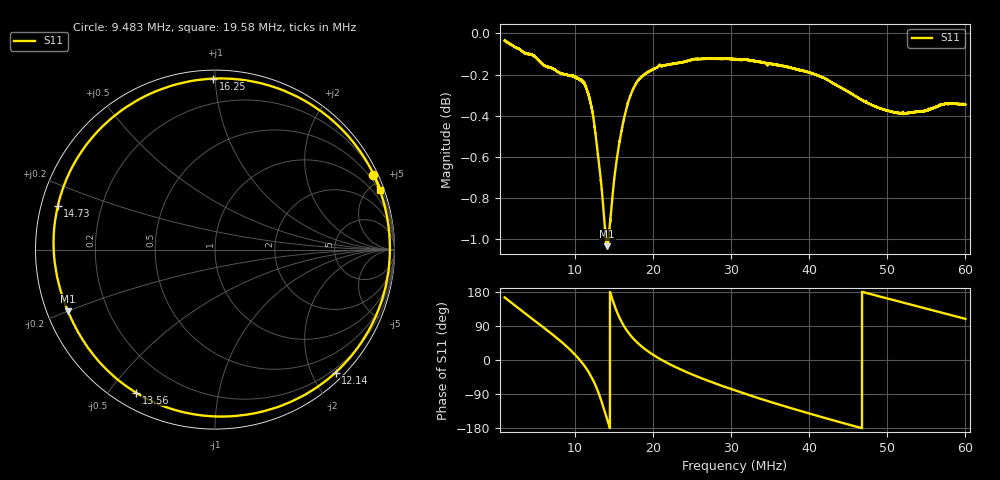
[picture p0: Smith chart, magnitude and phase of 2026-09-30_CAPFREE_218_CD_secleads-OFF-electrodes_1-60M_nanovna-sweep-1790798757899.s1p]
! NanoVNA Web complex sweep
! Processing: unaveraged complex samples; linear segment spacing; no smoothing
# Hz S RI R 50
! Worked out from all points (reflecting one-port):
!   10100 points, 1 MHz to 60 MHz, reference 50 ohm
!   lowest |S11| = -1.0 dB at 14.14 MHz (marker M1), VSWR 16.79, Z = 3.1 - j10.1 ohm
!   phase of S11 starts at 165 deg and turns -777 deg over the sweep
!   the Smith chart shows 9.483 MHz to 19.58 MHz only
!   S11 on the Smith chart (normalised r, x): 9.483 MHz: 0.25, +4.45; 12.14 MHz: 0.14, -2.38; 13.56 MHz: 0.06, -0.59; 14.73 MHz: 0.05, +0.14; 16.25 MHz: 0.05, +0.99; 19.58 MHz: 0.36, +5.74
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1000000  -0.9631 0.2538
2717548  -0.7309 0.6703
4873246  -0.2248 0.9611
6672582  0.2572 0.9468
8378446  0.6788 0.7034
9482584  0.8831 0.4169
1.101319e7  0.9598 -0.1613
1.160907e7  0.8632 -0.4379
1.214069e7  0.6718 -0.6848
1.294105e7  0.1297 -0.9253
1.35603e7  -0.4406 -0.7968
1.413866e7  -0.8181 -0.3442
1.47287e7  -0.876 0.2443
1.524864e7  -0.6451 0.6679
1.575105e7  -0.3204 0.8857
1.624762e7  -0.0116 0.9527
1.772565e7  0.6084 0.7574
1.957756e7  0.9219 0.3299
2.113153e7  0.9819 -0.00117
2.31295e7  0.9179 -0.3533
2.671648e7  0.6041 -0.7791
3.05021e7  0.1655 -0.9716
3.397809e7  -0.2343 -0.9556
3.78747e7  -0.6076 -0.7698
4.160774e7  -0.8502 -0.4789
4.525315e7  -0.9567 -0.1421
5.262575e7  -0.8151 0.5005
5.999836e7  -0.3049 0.9113
